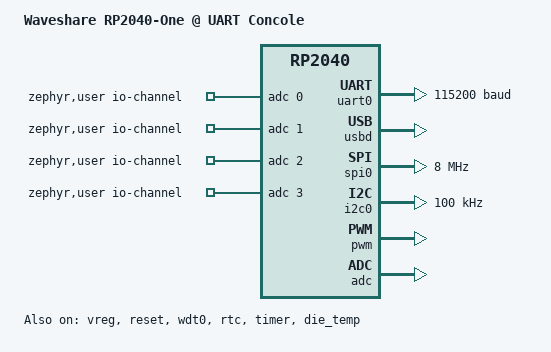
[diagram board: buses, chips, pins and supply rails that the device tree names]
/*
 * SPDX-FileCopyrightText: Copyright (c) 2023-2026 TiaC Systems
 * SPDX-License-Identifier: Apache-2.0
 */

/dts-v1/;

#include <freq.h>
#include <mem.h>

#include <raspberrypi/rpi_pico/rp2040.dtsi>
#include <raspberrypi/partitions_2M_default.dtsi>

#include <zephyr/dt-bindings/clock/rpi_pico_rp2040_clock.h>
#include <zephyr/dt-bindings/regulator/rpi_pico.h>

#include <zephyr/dt-bindings/gpio/gpio.h>
#include <zephyr/dt-bindings/i2c/i2c.h>
#include <zephyr/dt-bindings/led/led.h>

#include "waveshare_rp2040mini_pads.dtsi"
#include "waveshare_rp2040mini_connector.dtsi"
#include "waveshare_rp2040_one-pinctrl.dtsi"

/ {
	model = "Waveshare RP2040-One @ UART Concole";
	compatible = "waveshare,rp2040-one",
		     "waveshare,rp2040-one-uartcons";

	chosen {
		zephyr,sram = &sram0;
		zephyr,flash = &flash0;
		zephyr,flash-controller = &ssi;
		zephyr,code-partition = &code_partition;
		zephyr,console = &uart0;
		zephyr,shell-uart = &uart0;
	};

	aliases {
		led-strip = &led_strip;
		watchdog0 = &wdt0;
	};

	zephyr,user {
		io-channels = <&adc 0>, <&adc 1>, <&adc 2>, <&adc 3>;
	};
};

&flash0 {
	status = "okay";
	reg = <0x10000000 DT_SIZE_M(4)>;
	ranges = <0x0 0x10000000 DT_SIZE_M(4)>;
};

&storage_partition {
	reg = <0x100000 DT_SIZE_M(3)>;
};

&clocks {
	status = "okay";
	pinctrl-0 = <&clocks_default>;
	pinctrl-names = "default";
};

&vreg {
	status = "okay";
	regulator-always-on;
	regulator-allowed-modes = <REGULATOR_RPI_PICO_MODE_NORMAL>;
};

&reset {
	status = "okay";
};

&wdt0 {
	status = "okay";
};

&rtc {
	status = "okay";
	clocks = <&clocks RPI_PICO_CLKID_CLK_RTC>;
};

&timer {
	status = "okay";
};

&dma {
	status = "okay";
};

&die_temp {
	status = "okay";
	friendly-name = "RP2040 chip temperature";
};

&uart0 {
	status = "okay";
	pinctrl-0 = <&uart0_default>;
	pinctrl-names = "default";
	current-speed = <115200>;
};

zephyr_udc0: &usbd {
	status = "okay";
};

&spi0 {
	status = "okay";
	pinctrl-0 = <&spi0_mini_default>;
	pinctrl-names = "default";
	clock-frequency = <DT_FREQ_M(8)>;
};

&i2c0 {
	status = "okay";
	pinctrl-0 = <&i2c0_mini_default>;
	pinctrl-names = "default";
	clock-frequency = <I2C_BITRATE_STANDARD>;
};

&i2c1 {
	status = "disabled";
	pinctrl-0 = <&i2c1_mini_default>;
	pinctrl-names = "default";
	clock-frequency = <I2C_BITRATE_STANDARD>;
};

&pio0 {
	status = "okay";

	pio-ws2812 {
		compatible = "worldsemi,ws2812-rpi_pico-pio";
		status = "okay";

		pinctrl-0 = <&pio0_ws2812_default>;
		pinctrl-names = "default";

		/* HI: 0x3F0: 1111110000: 0.750 us high and 0.500 us low */
		/* LO: 0x380: 1110000000: 0.375 us high and 0.875 us low */
		bit-waveform = <3>, <3>, <4>;

		ws2812: ws2812 {
			status = "okay";

			chain-length = <1>;
			color-mapping = <LED_COLOR_ID_RED
					 LED_COLOR_ID_GREEN
					 LED_COLOR_ID_BLUE>;

			/* PIO0:OUT @ GP16 and Tbit = 1.25 us / 10 */
			gpios = <&gpio0 16 GPIO_ACTIVE_HIGH>;
			frequency = <DT_FREQ_K(800)>;
			reset-delay = <280>;
		};
	};
};

led_strip: &ws2812 {};

&pwm {
	status = "okay";
	pinctrl-0 = <&pwm_mini_default>;
	pinctrl-names = "default";
};

&adc {
	status = "okay";
	pinctrl-0 = <&adc_default>;
	pinctrl-names = "default";
};

&gpio0 {
	status = "okay";
	/* namespace and positions without wired bits */
	gpio-reserved-ranges = <16 1>;
	gpio-line-names =
		"TX0",			/* GP0 */
		"RX0",			/* GP1 */
		"GP2_CTS0",		/* GP2 */
		"GP3_RTS0",		/* GP3 */
		"SDI0",			/* GP4 */
		"CSN0",			/* GP5 */
		"SCK0",			/* GP6 */
		"SDO0",			/* GP7 */
		"SDA0",			/* GP8 */
		"SCL0",			/* GP9 */
		"GP10_PWM10",		/* GP10 */
		"GP11_PWM11",		/* GP11 */
		"GP12_PWM12",		/* GP12 */
		"GP13_PWM13",		/* GP13 */
		"GP14_SDA1",		/* GP14 */
		"GP15_SCL1",		/* GP15 */
		"",  /* Din of LED stripe, GP16 */
		"GP17_PWM1",		/* GP17 */
		"GP18_PWM2",		/* GP18 */
		"GP19_PWM3",		/* GP19 */
		"GP20_PWM4",		/* GP20 */
		"GP21_PWM5",		/* GP21 */
		"GP22_PWM6",		/* GP22 */
		"GP23_PWM7",		/* GP23 */
		"GP24_PWM8",		/* GP24 */
		"GP25_PWM9",		/* GP25 */
		"ADC0",			/* GP26 */
		"ADC1",			/* GP27 */
		"ADC2",			/* GP28 */
		"ADC3";			/* GP29 */
};
